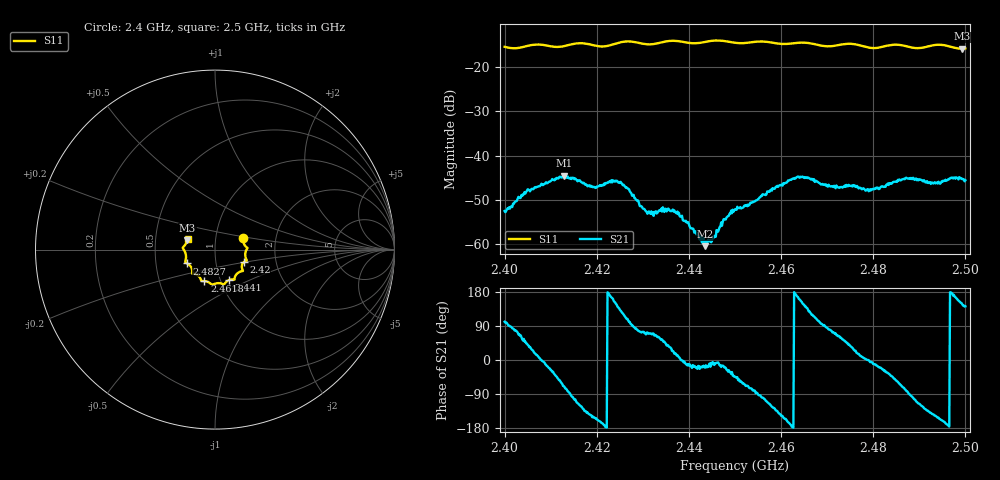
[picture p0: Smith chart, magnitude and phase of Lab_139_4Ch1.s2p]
# Hz S RI R 50
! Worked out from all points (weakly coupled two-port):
!   601 points, 2.4 GHz to 2.5 GHz, reference 50 ohm
!   highest |S21| = -44.58 dB at 2.4128 GHz (marker M1); lowest = -60.5 dB at 2.4435 GHz (marker M2)
!   lowest |S11| = -15.8 dB at 2.4993 GHz (marker M3), VSWR 1.39, Z = 36.5 + j3.84 ohm
!   |S11| at or under -10 dB: start of sweep to end of sweep
!   S12 and S22 are empty: the file has one direction only
!   S11 on the Smith chart (normalised r, x): 2.4 GHz: 1.36, +0.18; 2.42 GHz: 1.36, -0.20; 2.441 GHz: 1.10, -0.39; 2.4618 GHz: 0.84, -0.30; 2.4827 GHz: 0.72, -0.12; 2.5 GHz: 0.73, +0.09
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2.4e9  0.1586 0.0629  -0.000445 0.00231  0 0  0 0
2.404833e9  0.1735 0.0148  0.00289 0.00273  0 0  0 0
2.412833e9  0.1691 -0.0378  0.00215 -0.00549  0 0  0 0
2.416667e9  0.1771 -0.0611  -0.00266 -0.0042  0 0  0 0
2.42e9  0.1596 -0.0704  -0.0041 -0.00175  0 0  0 0
2.424833e9  0.1534 -0.1124  -0.00365 0.00344  0 0  0 0
2.4305e9  0.1316 -0.1271  0.000767 0.00227  0 0  0 0
2.433333e9  0.1115 -0.1509  0.00111 0.00203  0 0  0 0
2.437e9  0.1076 -0.1677  0.00219 0.000696  0 0  0 0
2.441e9  0.0785 -0.1696  0.00139 -0.000458  0 0  0 0
2.4435e9  0.0578 -0.1847  0.000882 -0.000325  0 0  0 0
2.445333e9  0.0513 -0.1937  0.0012 -0.000229  0 0  0 0
2.45e9  0.0287 -0.1874  0.00178 -0.0017  0 0  0 0
2.461833e9  -0.0593 -0.1754  -0.00514 -0.00113  0 0  0 0
2.466667e9  -0.0786 -0.1684  -0.00263 0.00476  0 0  0 0
2.478667e9  -0.1285 -0.1087  0.00413 1.58e-05  0 0  0 0
2.482667e9  -0.1559 -0.0772  0.00376 -0.00232  0 0  0 0
2.483333e9  -0.1603 -0.0752  0.00375 -0.00273  0 0  0 0
2.487333e9  -0.1627 -0.0567  0.000729 -0.00547  0 0  0 0
2.493e9  -0.1776 0.00484  -0.00387 -0.00288  0 0  0 0
2.499333e9  -0.154 0.0512  -0.00449 0.00298  0 0  0 0
2.5e9  -0.1522 0.0608  -0.00411 0.00326  0 0  0 0
